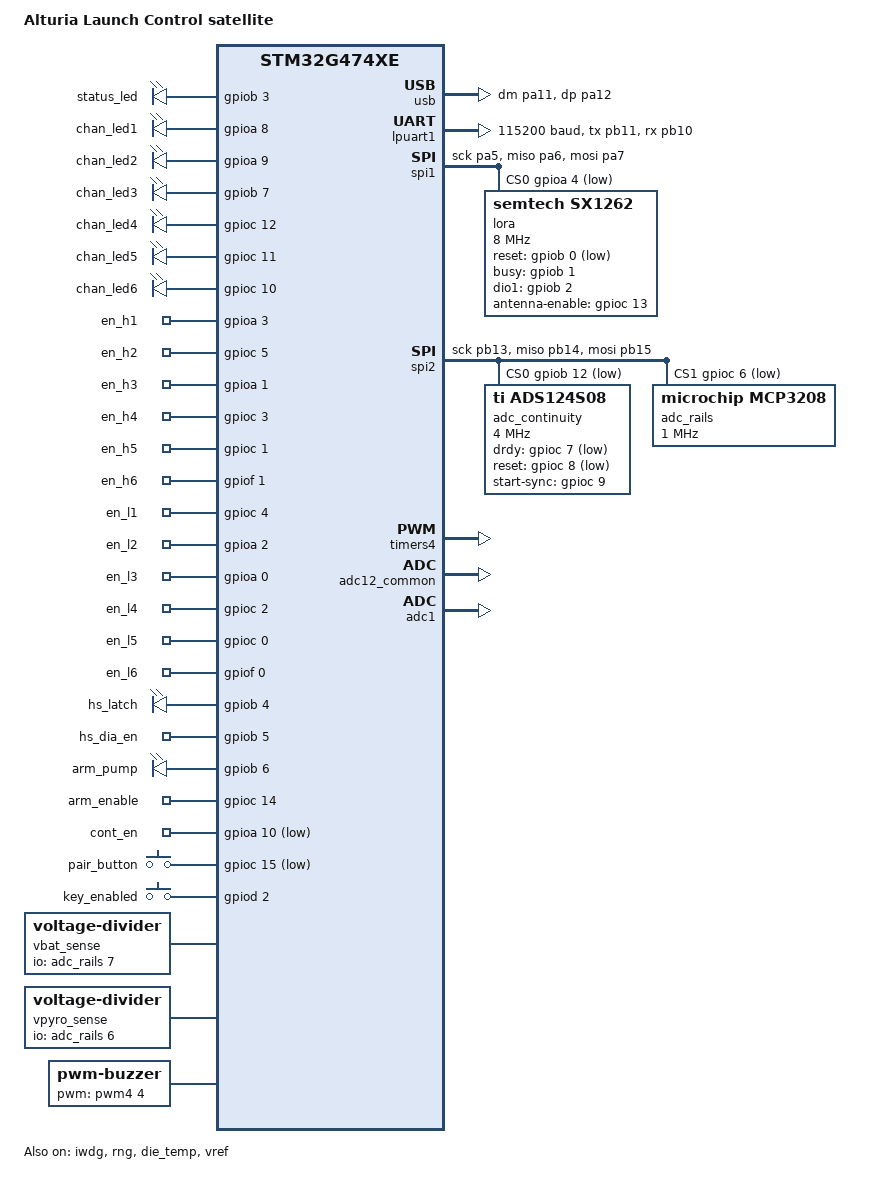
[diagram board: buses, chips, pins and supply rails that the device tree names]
/*
 * SPDX-License-Identifier: GPL-3.0-only
 *
 * Alturia Launch Control satellite, rev A (hardware/satellite). Pin
 * assignments are taken from the schematic netlist, U4 = STM32G474RET6.
 *
 * Channel numbering: channel n here, in the firmware and on the console is
 * the one labelled n on the front panel. The panel counts left to right,
 * the schematic the other way round, so channel n is PyroStage(7 - n) and
 * its LED is LED_CHN_(7 - n). The continuity ADC follows the panel
 * (AIN(n - 1) is channel n); the MCP3208's SENSE_I inputs follow the
 * schematic (CH(6 - n) is channel n).
 *
 * There is no HSE crystal: the core runs from HSI16 through the PLL, USB
 * from HSI48 trimmed by CRS (board.c). PF0/PF1 are channel 6's enables and
 * PC14 is ARM_ENABLE, so neither clk_hse nor clk_lse may be enabled.
 */

/dts-v1/;
#include <st/g4/stm32g474Xe.dtsi>
#include <st/g4/stm32g474r(b-c-e)tx-pinctrl.dtsi>
#include <zephyr/dt-bindings/adc/adc.h>
#include <zephyr/dt-bindings/input/input-event-codes.h>
#include <zephyr/dt-bindings/lora/sx126x.h>
#include <zephyr/dt-bindings/pwm/pwm.h>

/ {
	model = "Alturia Launch Control satellite";
	compatible = "alturia,satellite";

	chosen {
		zephyr,sram = &sram0;
		zephyr,flash = &flash0;
		zephyr,code-partition = &slot0_partition;
	};

	aliases {
		led0 = &status_led;
		chan-led0 = &chan_led1;
		chan-led1 = &chan_led2;
		chan-led2 = &chan_led3;
		chan-led3 = &chan_led4;
		chan-led4 = &chan_led5;
		chan-led5 = &chan_led6;
		sw0 = &pair_button;
		lora0 = &lora;
		buzzer = &buzzer;
		watchdog0 = &iwdg;
		die-temp0 = &die_temp;
		volt-sensor0 = &vref;
	};

	leds {
		compatible = "gpio-leds";

		status_led: status_led {
			gpios = <&gpiob 3 GPIO_ACTIVE_HIGH>;	/* LED_STATUS, D23 */
		};
	};

	/* Channel LEDs, which also show the pairing pattern. */
	chan_leds {
		compatible = "gpio-leds";

		chan_led1: chan_led1 { gpios = <&gpioa 8 GPIO_ACTIVE_HIGH>; };	/* LED_CHN_6 */
		chan_led2: chan_led2 { gpios = <&gpioa 9 GPIO_ACTIVE_HIGH>; };	/* LED_CHN_5 */
		chan_led3: chan_led3 { gpios = <&gpiob 7 GPIO_ACTIVE_HIGH>; };	/* LED_CHN_4 */
		chan_led4: chan_led4 { gpios = <&gpioc 12 GPIO_ACTIVE_HIGH>; };	/* LED_CHN_3 */
		chan_led5: chan_led5 { gpios = <&gpioc 11 GPIO_ACTIVE_HIGH>; };	/* LED_CHN_2 */
		chan_led6: chan_led6 { gpios = <&gpioc 10 GPIO_ACTIVE_HIGH>; };	/* LED_CHN_1 */
	};

	/* Pyro channel control lines: TPS1HB08 enables (through 100 R) and the
	 * low-side FET gates (10k pull-downs). gpio-leds is a stand-in
	 * compatible so they can be fetched with GPIO_DT_SPEC_GET.
	 */
	pyro_enables {
		compatible = "gpio-leds";

		en_h1: en_h1 { gpios = <&gpioa 3 GPIO_ACTIVE_HIGH>; };	/* ENABLE_P6_HIGH */
		en_h2: en_h2 { gpios = <&gpioc 5 GPIO_ACTIVE_HIGH>; };	/* ENABLE_P5_HIGH */
		en_h3: en_h3 { gpios = <&gpioa 1 GPIO_ACTIVE_HIGH>; };	/* ENABLE_P4_HIGH */
		en_h4: en_h4 { gpios = <&gpioc 3 GPIO_ACTIVE_HIGH>; };	/* ENABLE_P3_HIGH */
		en_h5: en_h5 { gpios = <&gpioc 1 GPIO_ACTIVE_HIGH>; };	/* ENABLE_P2_HIGH */
		en_h6: en_h6 { gpios = <&gpiof 1 GPIO_ACTIVE_HIGH>; };	/* ENABLE_P1_HIGH */
		en_l1: en_l1 { gpios = <&gpioc 4 GPIO_ACTIVE_HIGH>; };	/* ENABLE_P6_LOW */
		en_l2: en_l2 { gpios = <&gpioa 2 GPIO_ACTIVE_HIGH>; };	/* ENABLE_P5_LOW */
		en_l3: en_l3 { gpios = <&gpioa 0 GPIO_ACTIVE_HIGH>; };	/* ENABLE_P4_LOW */
		en_l4: en_l4 { gpios = <&gpioc 2 GPIO_ACTIVE_HIGH>; };	/* ENABLE_P3_LOW */
		en_l5: en_l5 { gpios = <&gpioc 0 GPIO_ACTIVE_HIGH>; };	/* ENABLE_P2_LOW */
		en_l6: en_l6 { gpios = <&gpiof 0 GPIO_ACTIVE_HIGH>; };	/* ENABLE_P1_LOW */
		hs_latch: hs_latch {
			gpios = <&gpiob 4 GPIO_ACTIVE_HIGH>;	/* COMMON_HIGH_SIDE_LATCH */
		};
		hs_dia_en: hs_dia_en {
			gpios = <&gpiob 5 GPIO_ACTIVE_HIGH>;	/* COMMON_HIGH_SIDE_DIA_EN */
		};
	};

	/* Arm path and continuity source, same stand-in compatible. The '123
	 * one-shot (U6) holds K1 while ARM_PUMP keeps toggling; ARM_ENABLE is
	 * its CLR. CONT_EN switches +3.3VA onto V_TEST through the AO3401A.
	 */
	arm_outputs {
		compatible = "gpio-leds";

		arm_pump: arm_pump {
			gpios = <&gpiob 6 GPIO_ACTIVE_HIGH>;	/* ARM_PUMP -> U6 A */
		};
		arm_enable: arm_enable {
			gpios = <&gpioc 14 GPIO_ACTIVE_HIGH>;	/* ARM_ENABLE -> U6 CLR */
		};
		cont_en: cont_en {
			gpios = <&gpioa 10 GPIO_ACTIVE_LOW>;	/* CONT_EN, Q1 gate */
		};
	};

	/* The continuity-test button (J6, 10k pull-up); held, it starts
	 * pairing.
	 */
	pair_keys {
		compatible = "gpio-keys";

		pair_button: pair_button {
			gpios = <&gpioc 15 GPIO_ACTIVE_LOW>;	/* CONT_TEST_REQ */
			zephyr,code = <INPUT_KEY_0>;
		};
	};

	/* VKEY through the 3k3/1k divider: the key relay K2 has closed. PD2
	 * shares EXTI line 2 with LORA_DIO1 on PB2, so it is polled.
	 */
	key_switch {
		compatible = "gpio-keys";
		polling-mode;

		key_enabled: key_enabled {
			gpios = <&gpiod 2 GPIO_ACTIVE_HIGH>;	/* KEY_ENABLED */
			zephyr,code = <INPUT_KEY_1>;
		};
	};

	/* Rail dividers into the MCP3208, 3k3 over 1k: 14.2 V full scale. */
	vbat_sense: vbat_sense {
		compatible = "voltage-divider";
		io-channels = <&adc_rails 7>;	/* VBAT_FUSED, R28/R113 */
		output-ohms = <1000>;
		full-ohms = <4300>;
	};

	vpyro_sense: vpyro_sense {
		compatible = "voltage-divider";
		io-channels = <&adc_rails 6>;	/* V_PYRO_ARMED, R26/R27 */
		output-ohms = <1000>;
		full-ohms = <4300>;
	};

	/* Magnetic transducer BZ1 on Q9; it needs a tone, not a level. */
	buzzer: buzzer {
		compatible = "pwm-buzzer";
		pwms = <&pwm4 4 PWM_HZ(4000) PWM_POLARITY_NORMAL>;	/* BUZZER */
	};
};

/* Schematic net names, so the GPIO shell can address pins by them. */
&gpioa {
	gpio-line-names = "ENABLE_P4_LOW", "ENABLE_P4_HIGH", "ENABLE_P5_LOW", "ENABLE_P6_HIGH",
			  "LORA_NSS", "LORA_SCK", "LORA_MISO", "LORA_MOSI",
			  "LED_CHN_6", "LED_CHN_5", "CONT_EN", "USB_DN",
			  "USB_DP", "SWDIO", "SWCLK", "";
};

&gpiob {
	gpio-line-names = "LORA_RST", "LORA_BUSY", "LORA_DIO1", "LED_STATUS",
			  "COMMON_HIGH_SIDE_LATCH", "COMMON_HIGH_SIDE_DIA_EN", "ARM_PUMP", "LED_CHN_4",
			  "BOOT0", "BUZZER", "U0RXD", "U0TXD",
			  "SPI_ADC_24BIT_CS", "SPI_ADC_CLK", "SPI_ADC_MISO", "SPI_ADC_MOSI";
};

&gpioc {
	gpio-line-names = "ENABLE_P2_LOW", "ENABLE_P2_HIGH", "ENABLE_P3_LOW", "ENABLE_P3_HIGH",
			  "ENABLE_P6_LOW", "ENABLE_P5_HIGH", "SPI_ADC_12BIT_CS", "24BIT_ADC_DRDY",
			  "24BIT_ADC_RESET", "24BIT_ADC_START", "LED_CHN_1", "LED_CHN_2",
			  "LED_CHN_3", "LORA_RF_SW", "ARM_ENABLE", "CONT_TEST_REQ";
};

&gpiod {
	gpio-line-names = "", "", "KEY_ENABLED";
};

&gpiof {
	gpio-line-names = "ENABLE_P1_LOW", "ENABLE_P1_HIGH";
};

&clk_lsi {
	status = "okay";
};

&clk_hsi {
	status = "okay";
};

&clk_hsi48 {
	status = "okay";
};

/* HSI16 / 4 * 85 / 2 = 170 MHz */
&pll {
	div-m = <4>;
	mul-n = <85>;
	div-p = <7>;
	div-q = <2>;
	div-r = <2>;
	clocks = <&clk_hsi>;
	status = "okay";
};

&rcc {
	clocks = <&pll>;
	clock-frequency = <DT_FREQ_M(170)>;
	ahb-prescaler = <1>;
	apb1-prescaler = <1>;
	apb2-prescaler = <1>;
};

/* USB-C J1 carries the console and the shell. To move them to the UART
 * header instead, point zephyr,console and zephyr,shell-uart at &lpuart1.
 */
zephyr_udc0: &usb {
	pinctrl-0 = <&usb_dm_pa11 &usb_dp_pa12>;
	pinctrl-names = "default";
	status = "okay";
};

#include <../boards/common/usb/cdc_acm_serial.dtsi>

/* UART header J2: pin 2 TX, pin 3 RX, 3V3 levels. */
&lpuart1 {
	pinctrl-0 = <&lpuart1_tx_pb11 &lpuart1_rx_pb10>;
	pinctrl-1 = <&analog_pb11 &analog_pb10>;
	pinctrl-names = "default", "sleep";
	current-speed = <115200>;
	status = "okay";
};

/* Wio-SX1262. DIO2 selects TX inside the module, RF_SW powers the switch,
 * which the native driver drives as antenna-enable.
 */
&spi1 {
	pinctrl-0 = <&spi1_sck_pa5 &spi1_miso_pa6 &spi1_mosi_pa7>;
	pinctrl-names = "default";
	cs-gpios = <&gpioa 4 GPIO_ACTIVE_LOW>;	/* LORA_NSS, 10k pull-up */
	status = "okay";

	lora: sx1262@0 {
		compatible = "semtech,sx1262";
		reg = <0>;
		spi-max-frequency = <DT_FREQ_M(8)>;
		reset-gpios = <&gpiob 0 GPIO_ACTIVE_LOW>;	/* LORA_RST */
		busy-gpios = <&gpiob 1 GPIO_ACTIVE_HIGH>;	/* LORA_BUSY */
		dio1-gpios = <&gpiob 2 GPIO_ACTIVE_HIGH>;	/* LORA_DIO1 */
		antenna-enable-gpios = <&gpioc 13 GPIO_ACTIVE_HIGH>;	/* LORA_RF_SW */
		dio2-tx-enable;
		dio3-tcxo-voltage = <SX126X_DIO3_TCXO_1V8>;
		tcxo-power-startup-delay-ms = <5>;
	};
};

/* Sense ADCs. The ADS124S08 measures the six SENSE_H lines against
 * REFP0 = V_TEST (ratiometric, so continuity readings want
 * ADC_REF_EXTERNAL0) and runs from its internal oscillator. The MCP3208
 * has Vref = +3.3VA and carries SENSE_I_P1..6 on CH0..5, V_PYRO_SENSE on
 * CH6 and VBAT_SENSE on CH7.
 */
&spi2 {
	pinctrl-0 = <&spi2_sck_pb13 &spi2_miso_pb14 &spi2_mosi_pb15>;
	pinctrl-names = "default";
	cs-gpios = <&gpiob 12 GPIO_ACTIVE_LOW>,	/* SPI_ADC_24BIT_CS */
		   <&gpioc 6 GPIO_ACTIVE_LOW>;	/* SPI_ADC_12BIT_CS */
	status = "okay";

	adc_continuity: ads124s08@0 {
		compatible = "ti,ads124s08";
		reg = <0>;
		spi-max-frequency = <DT_FREQ_M(4)>;
		#io-channel-cells = <1>;
		drdy-gpios = <&gpioc 7 GPIO_ACTIVE_LOW>;	/* 24BIT_ADC_DRDY */
		reset-gpios = <&gpioc 8 GPIO_ACTIVE_LOW>;	/* 24BIT_ADC_RESET */
		start-sync-gpios = <&gpioc 9 GPIO_ACTIVE_HIGH>;	/* 24BIT_ADC_START */
	};

	adc_rails: mcp3208@1 {
		compatible = "microchip,mcp3208";
		reg = <1>;
		spi-max-frequency = <DT_FREQ_M(1)>;
		#io-channel-cells = <1>;
		#address-cells = <1>;
		#size-cells = <0>;

		channel@6 {
			reg = <6>;	/* V_PYRO_SENSE */
			zephyr,gain = "ADC_GAIN_1";
			zephyr,reference = "ADC_REF_EXTERNAL0";
			zephyr,vref-mv = <3300>;	/* +3.3VA */
			zephyr,acquisition-time = <ADC_ACQ_TIME_DEFAULT>;
			zephyr,resolution = <12>;
		};

		channel@7 {
			reg = <7>;	/* VBAT_SENSE */
			zephyr,gain = "ADC_GAIN_1";
			zephyr,reference = "ADC_REF_EXTERNAL0";
			zephyr,vref-mv = <3300>;	/* +3.3VA */
			zephyr,acquisition-time = <ADC_ACQ_TIME_DEFAULT>;
			zephyr,resolution = <12>;
		};
	};
};

/* 16-bit timer: 170 MHz / 4 reaches down to 650 Hz for the buzzer. */
&timers4 {
	st,prescaler = <3>;
	status = "okay";

	pwm4: pwm {
		pinctrl-0 = <&tim4_ch4_pb9>;
		pinctrl-names = "default";
		status = "okay";
	};
};

&flash0 {
	partitions {
		#address-cells = <1>;
		#size-cells = <1>;
		ranges;

		/* MCUboot (sysbuild, swap using offset) takes some 32 KB of its
		 * 40. A build without sysbuild has no bootloader and links at 0
		 * as before. Everything is 4 KB aligned, so the layout holds
		 * whether DBANK is set (2 KB pages, the factory default) or not
		 * (4 KB pages).
		 */
		boot_partition: partition@0 {
			compatible = "zephyr,mapped-partition";
			label = "mcuboot";
			reg = <0x00000000 DT_SIZE_K(40)>;
		};

		slot0_partition: partition@a000 {
			compatible = "zephyr,mapped-partition";
			label = "image-0";
			reg = <0x0000a000 DT_SIZE_K(232)>;
		};

		/* Where mcumgr puts an uploaded image for MCUboot to swap in. */
		slot1_partition: partition@44000 {
			compatible = "zephyr,mapped-partition";
			label = "image-1";
			reg = <0x00044000 DT_SIZE_K(232)>;
		};

		/* Pairing keys and settings (ZMS). Same place as before MCUboot,
		 * so a re-flash that doesn't mass-erase keeps the pairings.
		 */
		storage_partition: partition@7e000 {
			compatible = "zephyr,mapped-partition";
			label = "storage";
			reg = <0x0007e000 DT_SIZE_K(8)>;
		};
	};
};

&iwdg {
	status = "okay";
};

&rng {
	status = "okay";
};

/* Clock settings are shared by ADC1/2 and live on the common node. */
&adc12_common {
	st,adc-clock-source = "SYNC";
	st,adc-prescaler = <4>;
	status = "okay";
};

/* Internal channels only (die temperature, VREFINT); no pin is wired to it. */
&adc1 {
	status = "okay";
};

&die_temp {
	status = "okay";
};

&vref {
	status = "okay";
};
